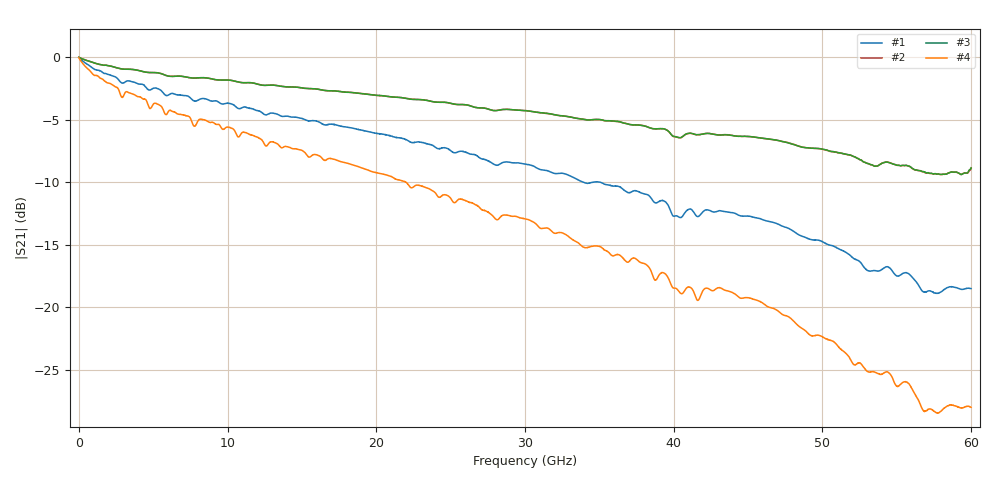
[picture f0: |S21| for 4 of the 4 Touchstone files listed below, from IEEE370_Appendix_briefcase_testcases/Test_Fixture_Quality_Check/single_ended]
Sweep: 6 MHz to 60 GHz
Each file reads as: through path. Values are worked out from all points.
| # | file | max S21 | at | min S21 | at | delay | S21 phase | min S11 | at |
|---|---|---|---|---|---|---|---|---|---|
| 1 | S2_M9_2xthru.s2p | -0.05 dB | 6 MHz | -18.9 dB | 57.67 GHz | 921 ps | -176 deg at 30.01 GHz | -48.6 dB | 20.51 GHz |
| 2 | S2_M9_AFR_1.s2p | -0.02 dB | 6 MHz | -9.4 dB | 57.98 GHz | 461 ps | 92 deg at 30.01 GHz | -68.6 dB | 6 MHz |
| 3 | S2_M9_AFR_2.s2p | -0.02 dB | 6 MHz | -9.4 dB | 59.34 GHz | 461 ps | 92 deg at 30.01 GHz | -53.0 dB | 31.43 GHz |
| 4 | S2_M16_Fix_DUT_Fix.s2p | -0.07 dB | 6 MHz | -28.5 dB | 57.8 GHz | - | 11 deg at 30.01 GHz | -69.1 dB | 29.72 GHz |
